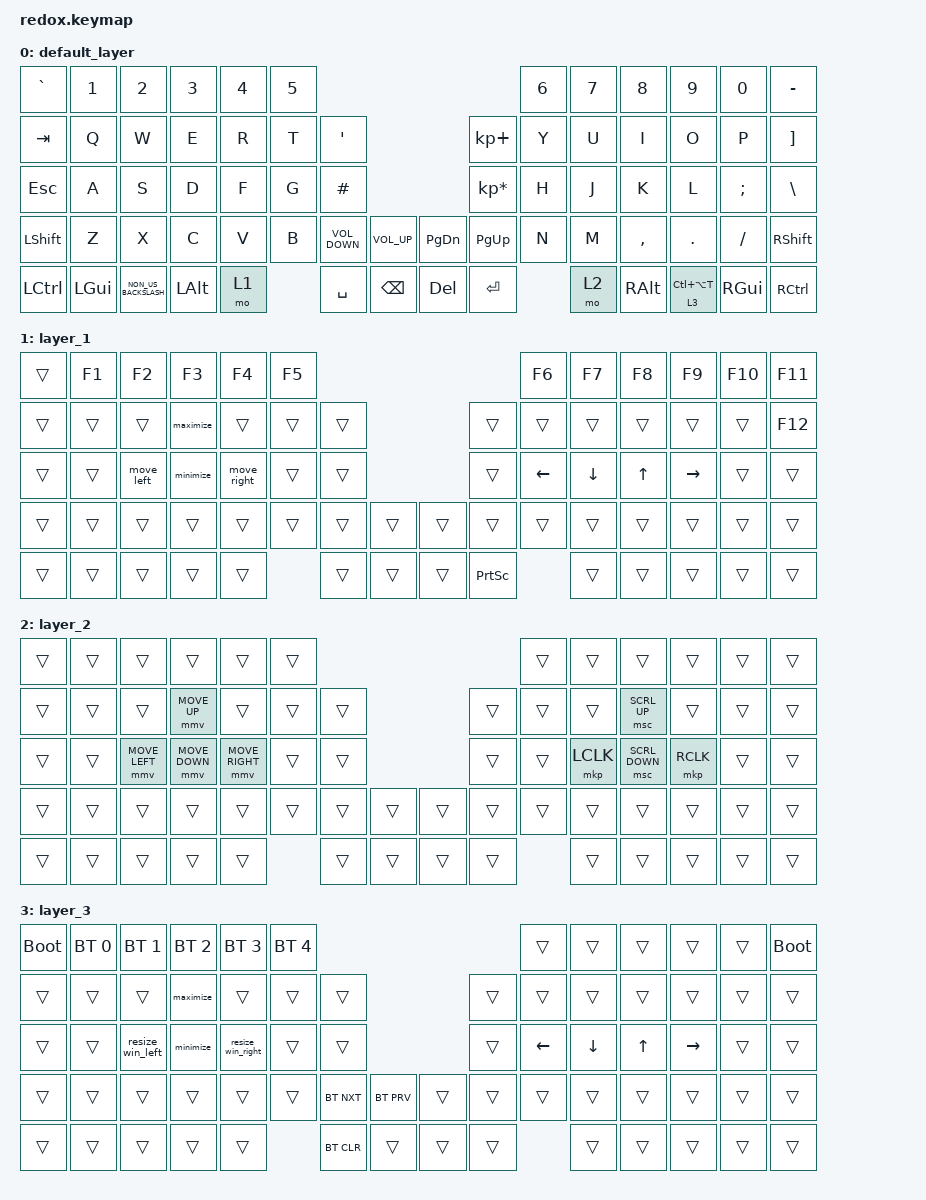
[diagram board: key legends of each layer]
/*
 * Copyright (c) 2021 The ZMK Contributors
 *
 * SPDX-License-Identifier: MIT
 */

#include <behaviors.dtsi>
#include <dt-bindings/zmk/keys.h>
#include <dt-bindings/zmk/pointing.h>
#include <dt-bindings/zmk/bt.h>

#define ZMK_POINTING_DEFAULT_MOVE_VAL 1200  // default: 600
#define ZMK_POINTING_DEFAULT_SCRL_VAL 20    // default: 10

/ {
    macros {
        maximize: maximize {
            compatible = "zmk,behavior-macro";
            #binding-cells = <0>;
            bindings =
                <&macro_press>,
                <&kp LCMD>,
                <&macro_tap>,
                <&kp UP_ARROW>,
                <&macro_release>,
                <&kp LCMD>;

            label = "MAXIMIZE";
        };

        minimize: minimize {
            compatible = "zmk,behavior-macro";
            #binding-cells = <0>;
            bindings =
                <&macro_press>,
                <&kp LCMD>,
                <&macro_tap>,
                <&kp DOWN>,
                <&macro_release>,
                <&kp LCMD>;

            label = "MINIMIZE";
        };

        move_right: move_right {
            compatible = "zmk,behavior-macro";
            #binding-cells = <0>;
            bindings =
                <&macro_press>,
                <&kp LCMD &kp LEFT_SHIFT>,
                <&macro_tap>,
                <&kp RIGHT>,
                <&macro_release>,
                <&kp LCMD &kp LEFT_SHIFT>;

            label = "MOVE_RIGHT";
        };

        move_left: move_left {
            compatible = "zmk,behavior-macro";
            #binding-cells = <0>;
            bindings =
                <&macro_press>,
                <&kp LCMD &kp LEFT_SHIFT>,
                <&macro_tap>,
                <&kp LEFT>,
                <&macro_release>,
                <&kp LCMD &kp LEFT_SHIFT>;

            label = "MOVE_LEFT";
        };

        resize_win_left: resize_win_left {
            compatible = "zmk,behavior-macro";
            #binding-cells = <0>;
            bindings =
                <&macro_press>,
                <&kp LCMD>,
                <&macro_tap>,
                <&kp LEFT>,
                <&macro_release>,
                <&kp LCMD>;

            label = "RESIZE_WIN_LEFT";
        };

        resize_win_right: resize_win_right {
            compatible = "zmk,behavior-macro";
            #binding-cells = <0>;
            bindings =
                <&macro_press>,
                <&kp LCMD>,
                <&macro_tap>,
                <&kp RIGHT>,
                <&macro_release>,
                <&kp LCMD>;

            label = "RESIZE_WIN_RIGHT";
        };
    };

    keymap {
        compatible = "zmk,keymap";

        default_layer {
            // --------------------------------------------------------------------------------------------------------------------------------
            // | ESC   |  1  |  2  |   3   |  4  |  5  |                   ---                |  6    |  7    |  8    |  9   | 0  |    BKSP   |
            // | TAB   |  Q  |  W  |   E   |  R  |  T  |   (   |           ---        |  )    |  Y    |  U    |  I    |  O   | P  |     -     |
            // | CTRL  |  A  |  S  |   D   |  F  |  G  |   [   |           ---        |  ]    |  H    |  J    |  K    |  L   | ;  |     '     |
            // | SHIFT |  Z  |  X  |   C   |  V  |  B  | PG_UP | PG_DOWN | --- | HOME | END   |  N    |  M    |  ,    |  .   | /  | SHFT(RET) |
            // | CRTL  | ALT | GUI | LOWER |    GUI    | LOWER | SPACE   | --- | DEL  | SPACE |     RAISE     | LEFT  | DOWN | UP |   RIGHT   |

            bindings = <
&kp GRAVE   &kp N1    &kp N2                &kp N3        &kp N4  &kp N5                                                                        &kp N6  &kp N7  &kp N8         &kp N9           &kp N0     &kp MINUS
&kp TAB     &kp Q     &kp W                 &kp E         &kp R   &kp T   &kp APOS                                             &kp KP_PLUS      &kp Y   &kp U   &kp I          &kp O            &kp P      &kp RIGHT_BRACKET
&kp ESCAPE  &kp A     &kp S                 &kp D         &kp F   &kp G   &kp POUND                                            &kp KP_ASTERISK  &kp H   &kp J   &kp K          &kp L            &kp SEMI   &kp BACKSLASH
&kp LSHFT   &kp Z     &kp X                 &kp C         &kp V   &kp B   &kp C_VOLUME_DOWN  &kp C_VOLUME_UP    &kp PAGE_DOWN  &kp PAGE_UP      &kp N   &kp M   &kp COMMA      &kp DOT          &kp SLASH  &kp RSHFT
&kp LCTRL   &kp LGUI  &kp NON_US_BACKSLASH  &kp LEFT_ALT  &mo 1           &kp SPACE          &kp BACKSPACE      &kp DEL        &kp ENTER                &mo 2   &kp RIGHT_ALT  &lt 3 LC(LA(T))  &kp RGUI   &kp RCTRL
            >;
        };

        layer_1 {
            bindings = <
&trans  &kp F1  &kp F2      &kp F3     &kp F4       &kp F5                                             &kp F6    &kp F7    &kp F8  &kp F9     &kp F10  &kp F11
&trans  &trans  &trans      &maximize  &trans       &trans  &trans                    &trans           &trans    &trans    &trans  &trans     &trans   &kp F12
&trans  &trans  &move_left  &minimize  &move_right  &trans  &trans                    &trans           &kp LEFT  &kp DOWN  &kp UP  &kp RIGHT  &trans   &trans
&trans  &trans  &trans      &trans     &trans       &trans  &trans  &trans    &trans  &trans           &trans    &trans    &trans  &trans     &trans   &trans
&trans  &trans  &trans      &trans     &trans               &trans  &trans    &trans  &kp PRINTSCREEN            &trans    &trans  &trans     &trans   &trans
            >;
        };

        layer_2 {
            bindings = <
&trans  &trans  &trans          &trans          &trans           &trans                                    &trans  &trans     &trans          &trans     &trans  &trans
&trans  &trans  &trans          &mmv MOVE_UP    &trans           &trans  &trans                    &trans  &trans  &trans     &msc SCRL_UP    &trans     &trans  &trans
&trans  &trans  &mmv MOVE_LEFT  &mmv MOVE_DOWN  &mmv MOVE_RIGHT  &trans  &trans                    &trans  &trans  &mkp LCLK  &msc SCRL_DOWN  &mkp RCLK  &trans  &trans
&trans  &trans  &trans          &trans          &trans           &trans  &trans  &trans    &trans  &trans  &trans  &trans     &trans          &trans     &trans  &trans
&trans  &trans  &trans          &trans          &trans                   &trans  &trans    &trans  &trans          &trans     &trans          &trans     &trans  &trans
            >;
        };

        layer_3 {
            bindings = <
&bootloader  &bt BT_SEL 0  &bt BT_SEL 1      &bt BT_SEL 2     &bt BT_SEL 3       &bt BT_SEL 4                                                &trans    &trans    &trans  &trans     &trans  &bootloader
&trans       &trans        &trans            &maximize        &trans             &trans        &trans                                &trans  &trans    &trans    &trans  &trans     &trans  &trans
&trans       &trans        &resize_win_left  &minimize        &resize_win_right  &trans        &trans                                &trans  &kp LEFT  &kp DOWN  &kp UP  &kp RIGHT  &trans  &trans
&trans       &trans        &trans            &trans           &trans             &trans        &bt BT_NXT  &bt BT_PRV        &trans  &trans  &trans    &trans    &trans  &trans     &trans  &trans
&trans       &trans        &trans            &trans           &trans                           &bt BT_CLR  &trans            &trans  &trans            &trans    &trans  &trans     &trans  &trans
            >;
        };
    };
};

